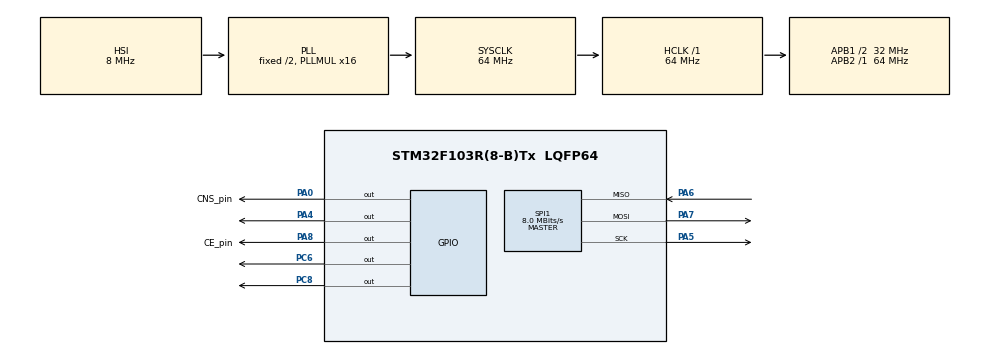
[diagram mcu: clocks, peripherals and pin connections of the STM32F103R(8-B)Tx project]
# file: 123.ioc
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Mcu.Family=STM32F1
Mcu.Name=STM32F103R(8-B)Tx
Mcu.Package=LQFP64
NVIC.PriorityGroup=NVIC_PRIORITYGROUP_4
PA0-WKUP.GPIO_Label=CNS_pin
PA0-WKUP.Signal=GPIO_Output
PA4.Signal=GPIO_Output
PA5.Mode=Full_Duplex_Master
PA5.Signal=SPI1_SCK
PA6.Mode=Full_Duplex_Master
PA6.Signal=SPI1_MISO
PA7.Mode=Full_Duplex_Master
PA7.Signal=SPI1_MOSI
PA8.GPIO_Label=CE_pin
PA8.Signal=GPIO_Output
PC6.Signal=GPIO_Output
PC8.Signal=GPIO_Output
PD0-OSC_IN.Mode=HSE-External-Oscillator
PD0-OSC_IN.Signal=RCC_OSC_IN
PD1-OSC_OUT.Mode=HSE-External-Oscillator
PD1-OSC_OUT.Signal=RCC_OSC_OUT
ProjectManager.HeapSize=0x200
ProjectManager.StackSize=0x400
ProjectManager.TargetToolchain=STM32CubeIDE
RCC.AHBFreq_Value=64000000
RCC.APB1CLKDivider=RCC_HCLK_DIV2
RCC.APB1Freq_Value=32000000
RCC.APB1TimFreq_Value=64000000
RCC.APB2Freq_Value=64000000
RCC.APB2TimFreq_Value=64000000
RCC.HCLKFreq_Value=64000000
RCC.PLLMUL=RCC_PLL_MUL16
RCC.RTCClockSelection=RCC_RTCCLKSOURCE_LSE
RCC.SYSCLKFreq_VALUE=64000000
RCC.SYSCLKSource=RCC_SYSCLKSOURCE_PLLCLK
RCC.USBFreq_Value=64000000
SPI1.BaudRatePrescaler=SPI_BAUDRATEPRESCALER_8
SPI1.CalculateBaudRate=8.0 MBits/s
SPI1.Direction=SPI_DIRECTION_2LINES
SPI1.Mode=SPI_MODE_MASTER
SPI1.VirtualType=VM_MASTER
VP_SYS_VS_ND.Mode=No_Debug
board=NUCLEO-F103RB

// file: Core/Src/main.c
/* USER CODE BEGIN Header */
/**
  ******************************************************************************
  * @file           : main.c
  * @brief          : Main program body
  ******************************************************************************
  * @attention
  *
  * Copyright (c) 2025 STMicroelectronics.
  * All rights reserved.
  *
  * This software is licensed under terms that can be found in the LICENSE file
  * in the root directory of this software component.
  * If no LICENSE file comes with this software, it is provided AS-IS.
  *
  ******************************************************************************
  */
/* USER CODE END Header */
#include "main.h"

/* USER CODE BEGIN Includes */
#include "NRF24.h"
#include "stm32f1xx_hal.h"
#include "NRF24_conf.h"
/* USER CODE END Includes */

SPI_HandleTypeDef hspi1;

void SystemClock_Config(void);
static void MX_GPIO_Init(void);
static void MX_SPI1_Init(void);
GPIO_InitTypeDef GPIO_InitStruct = {0};

/* USER CODE BEGIN 0 */
uint8_t tx_data[] = "hi";

void nrf24_transmitter_setup(void)
{
    uint8_t tx_address[5] = {'R', 'x', 'A', 'A', 'A'}; // 송신기 주소

    nrf24_defaults();  // NRF24 모듈을 기본 설정으로 초기화
    nrf24_open_tx_pipe(tx_address); // 송신기 파이프 설정
    nrf24_tx_pwr(3); // 전송 파워 설정 (필요에 따라 조정)
    nrf24_data_rate(_1mbps); // 데이터 전송 속도 설정 (1mbps 일반적으로 사용)
}

// "hi" 데이터 전송
void transmit_hi(void)
{
    // 데이터 전송
    if (nrf24_transmit(tx_data, sizeof(tx_data)) == 0) {
        // 전송 성공 시, LED를 켜서 피드백
        HAL_GPIO_WritePin(GPIOC, GPIO_PIN_8, GPIO_PIN_SET);  // PC6 핀에 연결된 LED 켜기
    } else {
        // 전송 실패 시, LED 끄기
        HAL_GPIO_WritePin(GPIOC, GPIO_PIN_8, GPIO_PIN_RESET);  // PC6 핀에 연결된 LED 끄기
    }
}

/* USER CODE END 0 */

int main(void)
{

  /* MCU Configuration--------------------------------------------------------*/

  /* Reset of all peripherals, Initializes the Flash interface and the Systick. */
  HAL_Init();

  /* Configure the system clock */
  SystemClock_Config();

  /* Initialize all configured peripherals */
  MX_GPIO_Init();
  MX_SPI1_Init();
  /* USER CODE BEGIN 2 */
  __HAL_RCC_GPIOC_CLK_ENABLE();  // GPIOC 클럭 활성화
      GPIO_InitStruct.Pin = GPIO_PIN_6;
      GPIO_InitStruct.Mode = GPIO_MODE_OUTPUT_PP;
      GPIO_InitStruct.Pull = GPIO_NOPULL;
      GPIO_InitStruct.Speed = GPIO_SPEED_FREQ_LOW;
      HAL_GPIO_Init(GPIOC, &GPIO_InitStruct);  // GPIOC Pin 6 초기화

      // NRF24 송신기 설정
      nrf24_transmitter_setup();
  /* USER CODE END 2 */

  /* Infinite loop */
  while (1)
  {

    /* USER CODE BEGIN 3 */
	  transmit_hi();  // "hi" 전송
	        HAL_Delay(2000); // 2초 대기
  }
  /* USER CODE END 3 */
}

void SystemClock_Config(void)
{
  RCC_OscInitTypeDef RCC_OscInitStruct = {0};
  RCC_ClkInitTypeDef RCC_ClkInitStruct = {0};

  /** Initializes the RCC Oscillators according to the specified parameters
  * in the RCC_OscInitTypeDef structure.
  */
  RCC_OscInitStruct.OscillatorType = RCC_OSCILLATORTYPE_HSI;
  RCC_OscInitStruct.HSIState = RCC_HSI_ON;
  RCC_OscInitStruct.HSICalibrationValue = RCC_HSICALIBRATION_DEFAULT;
  RCC_OscInitStruct.PLL.PLLState = RCC_PLL_ON;
  RCC_OscInitStruct.PLL.PLLSource = RCC_PLLSOURCE_HSI_DIV2;
  RCC_OscInitStruct.PLL.PLLMUL = RCC_PLL_MUL16;
  if (HAL_RCC_OscConfig(&RCC_OscInitStruct) != HAL_OK)
  {
    Error_Handler();
  }

  /** Initializes the CPU, AHB and APB buses clocks
  */
  RCC_ClkInitStruct.ClockType = RCC_CLOCKTYPE_HCLK|RCC_CLOCKTYPE_SYSCLK
                              |RCC_CLOCKTYPE_PCLK1|RCC_CLOCKTYPE_PCLK2;
  RCC_ClkInitStruct.SYSCLKSource = RCC_SYSCLKSOURCE_PLLCLK;
  RCC_ClkInitStruct.AHBCLKDivider = RCC_SYSCLK_DIV1;
  RCC_ClkInitStruct.APB1CLKDivider = RCC_HCLK_DIV2;
  RCC_ClkInitStruct.APB2CLKDivider = RCC_HCLK_DIV1;

  if (HAL_RCC_ClockConfig(&RCC_ClkInitStruct, FLASH_LATENCY_2) != HAL_OK)
  {
    Error_Handler();
  }
}

static void MX_SPI1_Init(void)
{

  /* SPI1 parameter configuration*/
  hspi1.Instance = SPI1;
  hspi1.Init.Mode = SPI_MODE_MASTER;
  hspi1.Init.Direction = SPI_DIRECTION_2LINES;
  hspi1.Init.DataSize = SPI_DATASIZE_8BIT;
  hspi1.Init.CLKPolarity = SPI_POLARITY_LOW;
  hspi1.Init.CLKPhase = SPI_PHASE_1EDGE;
  hspi1.Init.NSS = SPI_NSS_SOFT;
  hspi1.Init.BaudRatePrescaler = SPI_BAUDRATEPRESCALER_8;
  hspi1.Init.FirstBit = SPI_FIRSTBIT_MSB;
  hspi1.Init.TIMode = SPI_TIMODE_DISABLE;
  hspi1.Init.CRCCalculation = SPI_CRCCALCULATION_DISABLE;
  hspi1.Init.CRCPolynomial = 10;
  if (HAL_SPI_Init(&hspi1) != HAL_OK)
  {
    Error_Handler();
  }

}

static void MX_GPIO_Init(void)
{
  GPIO_InitTypeDef GPIO_InitStruct = {0};

  /* GPIO Ports Clock Enable */
  __HAL_RCC_GPIOD_CLK_ENABLE();
  __HAL_RCC_GPIOA_CLK_ENABLE();
  __HAL_RCC_GPIOC_CLK_ENABLE();

  /*Configure GPIO pin Output Level */
  HAL_GPIO_WritePin(GPIOA, CNS_pin_Pin|GPIO_PIN_4|CE_pin_Pin, GPIO_PIN_RESET);

  /*Configure GPIO pin Output Level */
  HAL_GPIO_WritePin(GPIOC, GPIO_PIN_6|GPIO_PIN_8, GPIO_PIN_RESET);

  /*Configure GPIO pins : CNS_pin_Pin PA4 CE_pin_Pin */
  GPIO_InitStruct.Pin = CNS_pin_Pin|GPIO_PIN_4|CE_pin_Pin;
  GPIO_InitStruct.Mode = GPIO_MODE_OUTPUT_PP;
  GPIO_InitStruct.Pull = GPIO_NOPULL;
  GPIO_InitStruct.Speed = GPIO_SPEED_FREQ_LOW;
  HAL_GPIO_Init(GPIOA, &GPIO_InitStruct);

  /*Configure GPIO pins : PC6 PC8 */
  GPIO_InitStruct.Pin = GPIO_PIN_6|GPIO_PIN_8;
  GPIO_InitStruct.Mode = GPIO_MODE_OUTPUT_PP;
  GPIO_InitStruct.Pull = GPIO_NOPULL;
  GPIO_InitStruct.Speed = GPIO_SPEED_FREQ_LOW;
  HAL_GPIO_Init(GPIOC, &GPIO_InitStruct);

}

void Error_Handler(void)
{
  __disable_irq();
  while (1)
  {
  }
}
